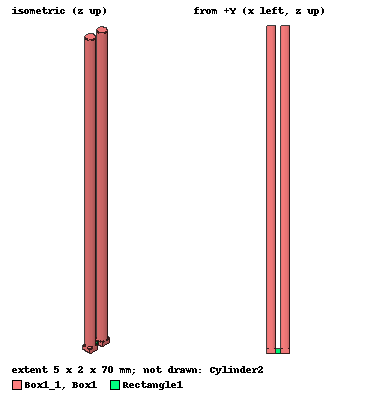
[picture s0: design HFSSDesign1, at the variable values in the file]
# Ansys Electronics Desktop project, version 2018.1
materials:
  vacuum: permittivity=1
  copper: permeability=0.999991 conductivity=58000000

design HFSSDesign1 (HFSS, DrivenModal, model units mm)
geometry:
  Cylinder1 = cylinder(axis=Z, base_centre=(1.5mm, 0mm, 0mm), radius=1mm, height=69mm)
  Cylinder1_1 = Cylinder1.duplicate_around_axis(axis=Z, angle=180deg, total=2)
  Box1 [copper] = box(corner=(2.5mm, -1mm, -1mm), size=(-2mm, 2mm, 1mm))
  Box1_1 [copper] = Box1.duplicate_around_axis(axis=Z, angle=180deg, total=2)
  Rectangle1 = rectangle(corner=(0.5mm, 0mm, 0mm), z_size=-1mm, x_size=-1mm)
  Box1.unite(Cylinder1)
  Box1_1.unite(Cylinder1_1)
  Cylinder2 [vacuum] = cylinder(axis=Z, base_centre=(0mm, 0mm, -240mm), radius=120mm, height=480mm)
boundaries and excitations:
  Rad1: Radiation Faces=Cylinder2.face(1 of 3)
  1: Lumped Port Objects=Rectangle1 Modes{Mode1{IntLine{middle of Rectangle1.edge(x opposite corner) -> middle of Rectangle1.edge(x at corner)} CharImp=Zpi RenormImp=50ohm}} Impedance=50ohm
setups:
  Setup1: HfssDriven Frequency=1090MHz MaxDeltaS=0.02 MaximumPasses=6 MinimumPasses=1 MinimumConvergedPasses=1 PercentRefinement=30 BasisOrder=1 PortAccuracy=2
    sweep Sweep: 0.3GHz to 3GHz, 451 points; Type=Interpolating InterpTolerance=0.5 InterpMaxSolns=250 InterpUsePortImped=false PassivityErrorTolerance=0.0001
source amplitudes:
  1:1: 1W 0deg
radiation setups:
  Infinite Sphere1: Infinite Sphere Theta=0deg..360deg step 2deg Phi=0deg..360deg step 2deg
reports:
  S Parameter Plot 1: dB(S(1,1)) vs Freq on Setup1 : Sweep
  Gain Plot 1: GainTotal vs Theta on Setup1 : LastAdaptive, Infinite Sphere1 [Phi=all Freq=1.09GHz]
  Gain Plot 2: GainTotal vs Phi, Theta on Setup1 : LastAdaptive, Infinite Sphere1 [Freq=1.09GHz]
